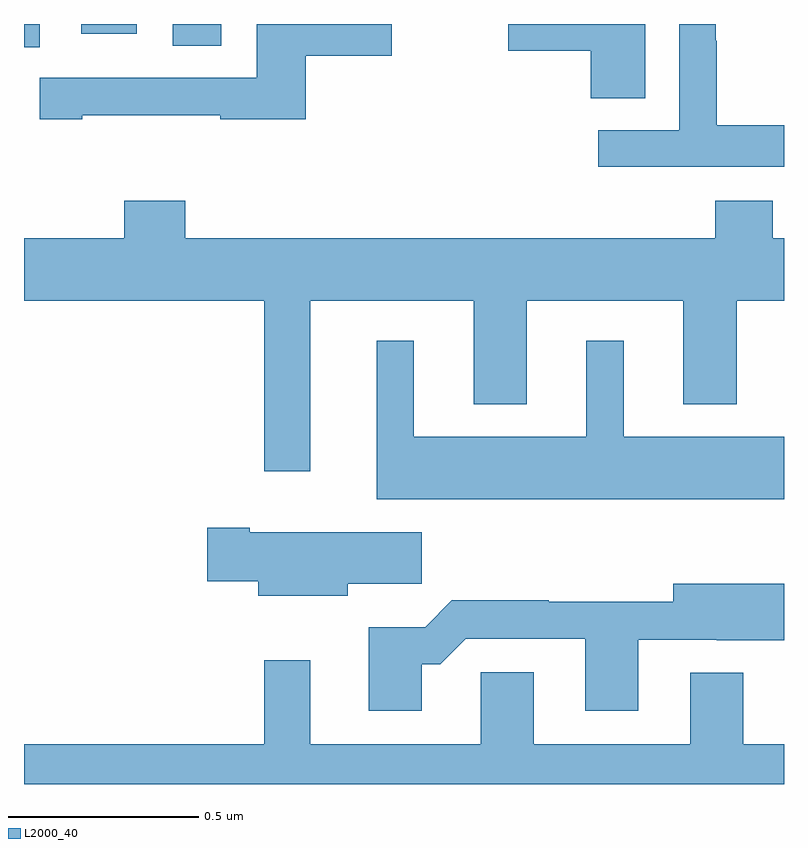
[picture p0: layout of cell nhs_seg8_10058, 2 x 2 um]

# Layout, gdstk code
import gdstk
lib = gdstk.Library(unit=1e-6, precision=1e-09)
def R(c, l, rs):  # rectangles x0, y0, x1, y1
    for r in rs: c.add(gdstk.rectangle(r[:2], r[2:], *l))
def P(c, l, *ps):  # polygons
    for p in ps: c.add(gdstk.Polygon(p, *l))
L2000_40 = (2000, 40)

nhs_seg8_10058 = lib.new_cell('nhs_seg8_10058')
R(nhs_seg8_10058, L2000_40, [(244,1111.839,244.041,1111.9), (244.391,1111.843,244.519,1111.9), (244.151,1111.875,244.297,1111.9)])
P(nhs_seg8_10058, L2000_40, [(244.153,1111.66),(244.517,1111.66),(244.517,1111.65),(244.741,1111.65),(244.741,1111.816),(244.968,1111.816),(244.968,1111.9),(244.613,1111.9),(244.613,1111.758),(244.041,1111.758),(244.041,1111.65),(244.153,1111.65)],
  [(246,1111.633),(245.823,1111.633),(245.823,1111.856),(245.82,1111.856),(245.82,1111.9),(245.724,1111.9),(245.724,1111.62),(245.511,1111.62),(245.511,1111.524),(246,1111.524)],
  [(245.635,1111.9),(245.274,1111.9),(245.274,1111.829),(245.492,1111.829),(245.492,1111.705),(245.635,1111.705)],
  [(244.753,1111.172),(245.183,1111.172),(245.183,1110.899),(245.323,1110.899),(245.323,1111.172),(245.735,1111.172),(245.735,1110.899),(245.875,1110.899),(245.875,1111.172),(246,1111.172),(246,1111.336),(245.971,1111.336),(245.971,1111.435),(245.819,1111.435),(245.819,1111.336),(244.424,1111.336),(244.424,1111.435),(244.264,1111.435),(244.264,1111.336),(244,1111.336),(244,1111.172),(244.632,1111.172),(244.632,1110.723),(244.753,1110.723)],
  [(246,1110.814),(245.578,1110.814),(245.578,1111.066),(245.48,1111.066),(245.48,1110.814),(245.026,1110.814),(245.026,1111.066),(244.928,1111.066),(244.928,1110.65),(246,1110.65)],
  [(244.852,1110.427),(245.047,1110.427),(245.047,1110.562),(244.594,1110.562),(244.594,1110.575),(244.482,1110.575),(244.482,1110.433),(244.616,1110.433),(244.616,1110.395),(244.852,1110.395)],
  [(245.047,1110.215),(245.096,1110.215),(245.163,1110.282),(245.477,1110.282),(245.477,1110.093),(245.617,1110.093),(245.617,1110.279),(245.823,1110.279),(245.823,1110.278),(246,1110.278),(246,1110.427),(245.708,1110.427),(245.708,1110.38),(245.381,1110.38),(245.381,1110.383),(245.126,1110.383),(245.056,1110.313),(244.907,1110.313),(244.907,1110.093),(245.047,1110.093)],
  [(246,1110.004),(245.893,1110.004),(245.893,1110.193),(245.753,1110.193),(245.753,1110.004),(245.341,1110.004),(245.341,1110.194),(245.202,1110.194),(245.202,1110.004),(244.753,1110.004),(244.753,1110.226),(244.632,1110.226),(244.632,1110.004),(244,1110.004),(244,1109.9),(246,1109.9)])

lib.write_gds('nhs_seg8_10058.gds')
